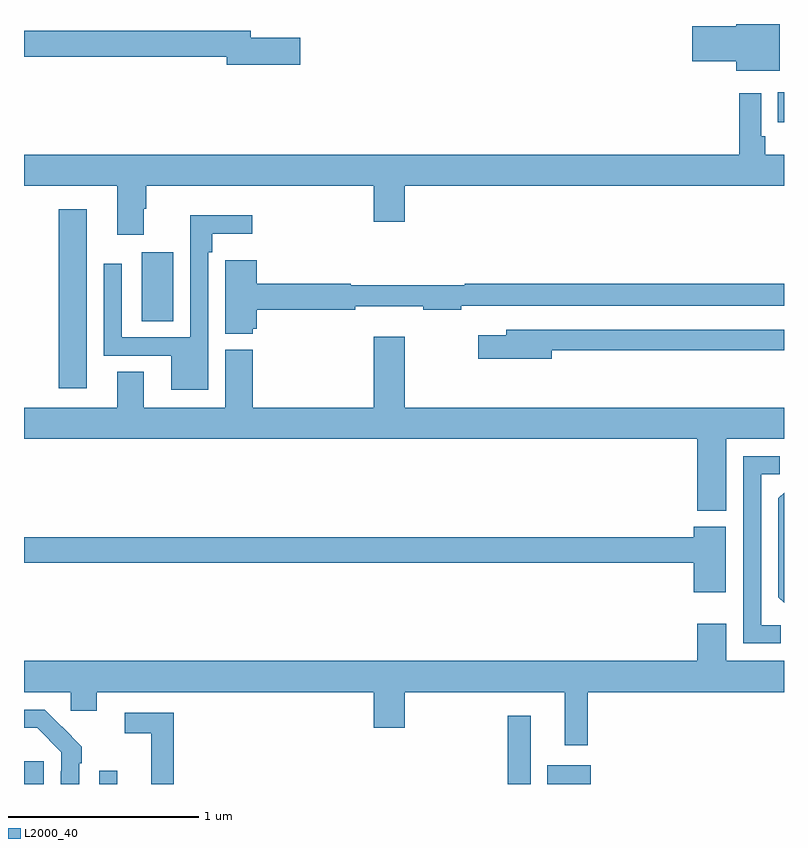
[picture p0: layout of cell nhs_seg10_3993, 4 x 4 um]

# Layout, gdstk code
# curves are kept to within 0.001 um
import gdstk
lib = gdstk.Library(unit=1e-6, precision=1e-09)
def R(c, l, rs):  # rectangles x0, y0, x1, y1
    for r in rs: c.add(gdstk.rectangle(r[:2], r[2:], *l))
def P(c, l, *ps):  # polygons
    for p in ps: c.add(gdstk.Polygon(p, *l))
L2000_40 = (2000, 40)

nhs_seg10_3993 = lib.new_cell('nhs_seg10_3993')
R(nhs_seg10_3993, L2000_40, [(331,1298.5,331.105,1298.62), (331.395,1298.5,331.491,1298.569), (333.546,1298.5,333.667,1298.86), (333.755,1298.5,333.982,1298.599), (331.184,1300.584,331.33,1301.524), (331.619,1300.936,331.786,1301.299), (334.966,1301.984,335,1302.142)])
P(nhs_seg10_3993, L2000_40, [(334.978,1302.5),(334.748,1302.5),(334.748,1302.488),(334.518,1302.488),(334.518,1302.305),(334.748,1302.305),(334.748,1302.254),(334.978,1302.254)],
  [(332.455,1302.428),(332.194,1302.428),(332.194,1302.464),(331,1302.464),(331,1302.328),(332.066,1302.328),(332.066,1302.286),(332.455,1302.286)],
  [(331.63,1301.528),(331.643,1301.528),(331.643,1301.648),(332.84,1301.648),(332.84,1301.46),(333.004,1301.46),(333.004,1301.648),(335,1301.648),(335,1301.812),(334.901,1301.812),(334.901,1301.908),(334.881,1301.908),(334.881,1302.136),(334.765,1302.136),(334.765,1301.812),(331,1301.812),(331,1301.648),(331.49,1301.648),(331.49,1301.391),(331.63,1301.391)],
  [(331.971,1301.3),(331.991,1301.3),(331.991,1301.396),(332.2,1301.396),(332.2,1301.494),(331.875,1301.494),(331.875,1300.851),(331.515,1300.851),(331.515,1301.239),(331.419,1301.239),(331.419,1300.755),(331.775,1300.755),(331.775,1300.574),(331.971,1300.574)],
  [(332.205,1300.896),(332.224,1300.896),(332.224,1300.996),(332.744,1300.996),(332.744,1301.015),(333.1,1301.015),(333.1,1300.996),(333.302,1300.996),(333.302,1301.016),(335,1301.016),(335,1301.132),(333.32,1301.132),(333.32,1301.125),(332.72,1301.125),(332.72,1301.132),(332.224,1301.132),(332.224,1301.257),(332.06,1301.257),(332.06,1300.871),(332.205,1300.871)],
  [(333.778,1300.782),(335,1300.782),(335,1300.89),(333.539,1300.89),(333.539,1300.861),(333.39,1300.861),(333.39,1300.739),(333.778,1300.739)],
  [(334.696,1300.316),(335,1300.316),(335,1300.48),(333.004,1300.48),(333.004,1300.855),(332.84,1300.855),(332.84,1300.48),(332.204,1300.48),(332.204,1300.786),(332.06,1300.786),(332.06,1300.48),(331.63,1300.48),(331.63,1300.67),(331.49,1300.67),(331.49,1300.48),(331,1300.48),(331,1300.316),(334.544,1300.316),(334.544,1299.938),(334.696,1299.938)],
  [(334.984,1299.336),(334.881,1299.336),(334.881,1300.129),(334.977,1300.129),(334.977,1300.224),(334.785,1300.224),(334.785,1299.24),(334.984,1299.24)],
  [(335,1300.033),(334.971,1300.004),(334.971,1299.482),(335,1299.453)],
  [(334.693,1299.853),(334.526,1299.853),(334.526,1299.8),(331,1299.8),(331,1299.664),(334.526,1299.664),(334.526,1299.51),(334.693,1299.51)],
  [(333.967,1298.984),(335,1298.984),(335,1299.148),(334.696,1299.148),(334.696,1299.343),(334.544,1299.343),(334.544,1299.148),(331,1299.148),(331,1298.984),(331.245,1298.984),(331.245,1298.886),(331.384,1298.886),(331.384,1298.984),(332.84,1298.984),(332.84,1298.796),(333.004,1298.796),(333.004,1298.984),(333.845,1298.984),(333.845,1298.703),(333.967,1298.703)],
  [(331.29,1298.609),(331.305,1298.609),(331.305,1298.697),(331.108,1298.892),(331,1298.892),(331,1298.796),(331.069,1298.796),(331.197,1298.667),(331.197,1298.567),(331.194,1298.567),(331.194,1298.5),(331.29,1298.5)],
  [(331.787,1298.874),(331.53,1298.874),(331.53,1298.766),(331.67,1298.766),(331.67,1298.5),(331.787,1298.5)])

lib.write_gds('nhs_seg10_3993.gds')
